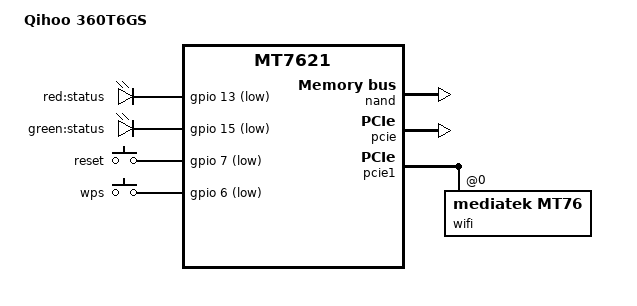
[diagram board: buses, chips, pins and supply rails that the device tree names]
// SPDX-License-Identifier: GPL-2.0-or-later OR MIT

#include "mt7621.dtsi"

#include <dt-bindings/gpio/gpio.h>
#include <dt-bindings/input/input.h>

/ {
	compatible = "qihoo,360t6gs", "mediatek,mt7621-soc";
	model = "Qihoo 360T6GS";

	aliases {
		led-boot = &led_green;
		led-failsafe = &led_red;
		led-running = &led_green;
		led-upgrade = &led_red;
		label-mac-device = &gmac0;
	};

	chosen {
		bootargs = "console=ttyS0,115200n8";
	};

	leds {
		compatible = "gpio-leds";

		led_red: red {
			label = "red:status";
			gpios = <&gpio 13 GPIO_ACTIVE_LOW>;
		};

		led_green: green {
			label = "green:status";
			gpios = <&gpio 15 GPIO_ACTIVE_LOW>;
		};
	};

	keys {
		compatible = "gpio-keys-polled";
		poll-interval = <20>;

		reset {
			label = "reset";
			gpios = <&gpio 7 GPIO_ACTIVE_LOW>;
			linux,code = <KEY_RESTART>;
		};

		wps {
			label = "wps";
			gpios = <&gpio 6 GPIO_ACTIVE_LOW>;
			linux,code = <KEY_WPS_BUTTON>;
		};
	};
};

&nand {
	status = "okay";

	partitions {
		compatible = "fixed-partitions";
		#address-cells = <1>;
		#size-cells = <1>;

		partition@0 {
			label = "Bootloader";
			reg = <0x000000 0x080000>;
			read-only;
		};

		partition@80000 {
			label = "u-boot-env";
			reg = <0x080000 0x040000>;
			read-only;
		};

		partition@c0000 {
			label = "Factory";
			reg = <0x0c0000 0x040000>;
			read-only;

			nvmem-layout {
				compatible = "fixed-layout";
				#address-cells = <1>;
				#size-cells = <1>;

				eeprom_factory_0: eeprom@0 {
					reg = <0x0 0xe00>;
				};
			};
		};

		partition@100000 {
			label = "Config";
			reg = <0x100000 0x040000>;
			read-only;
		};

		partition@140000 {
			label = "config";
			reg = <0x140000 0x080000>;
			read-only;
		};

		partition@1c0000 {
			label = "factory";
			reg = <0x1c0000 0x040000>;
			read-only;

			nvmem-layout {
				compatible = "fixed-layout";
				#address-cells = <1>;
				#size-cells = <1>;

				macaddr_factory_14: macaddr@14 {
					compatible = "mac-base";
					reg = <0x14 0x11>;
					#nvmem-cell-cells = <1>;
				};
			};
		};

		partition@200000 {
			label = "kernel";
			reg = <0x200000 0x400000>;
		};

		partition@600000 {
			label = "ubi";
			reg = <0x600000 0x7400000>;
		};
	};
};

&pcie {
	status = "okay";
};

&pcie1 {
	wifi@0,0 {
		compatible = "mediatek,mt76";
		reg = <0x0000 0 0 0 0>;
		nvmem-cells = <&eeprom_factory_0>;
		nvmem-cell-names = "eeprom";
		mediatek,disable-radar-background;
	};
};

&gmac0 {
	nvmem-cells = <&macaddr_factory_14 0>;
	nvmem-cell-names = "mac-address";
};

&gmac1 {
	status = "disabled";
};

&switch0 {
	ports {
		port@0 {
			status = "okay";
			label = "lan1";
		};

		port@1 {
			status = "okay";
			label = "lan2";
		};

		port@2 {
			status = "okay";
			label = "lan3";
		};

		port@3 {
			status = "okay";
			label = "wan";
		};
	};
};

&state_default {
	gpio {
		groups = "jtag", "uart3", "wdt";
		function = "gpio";
	};
};
